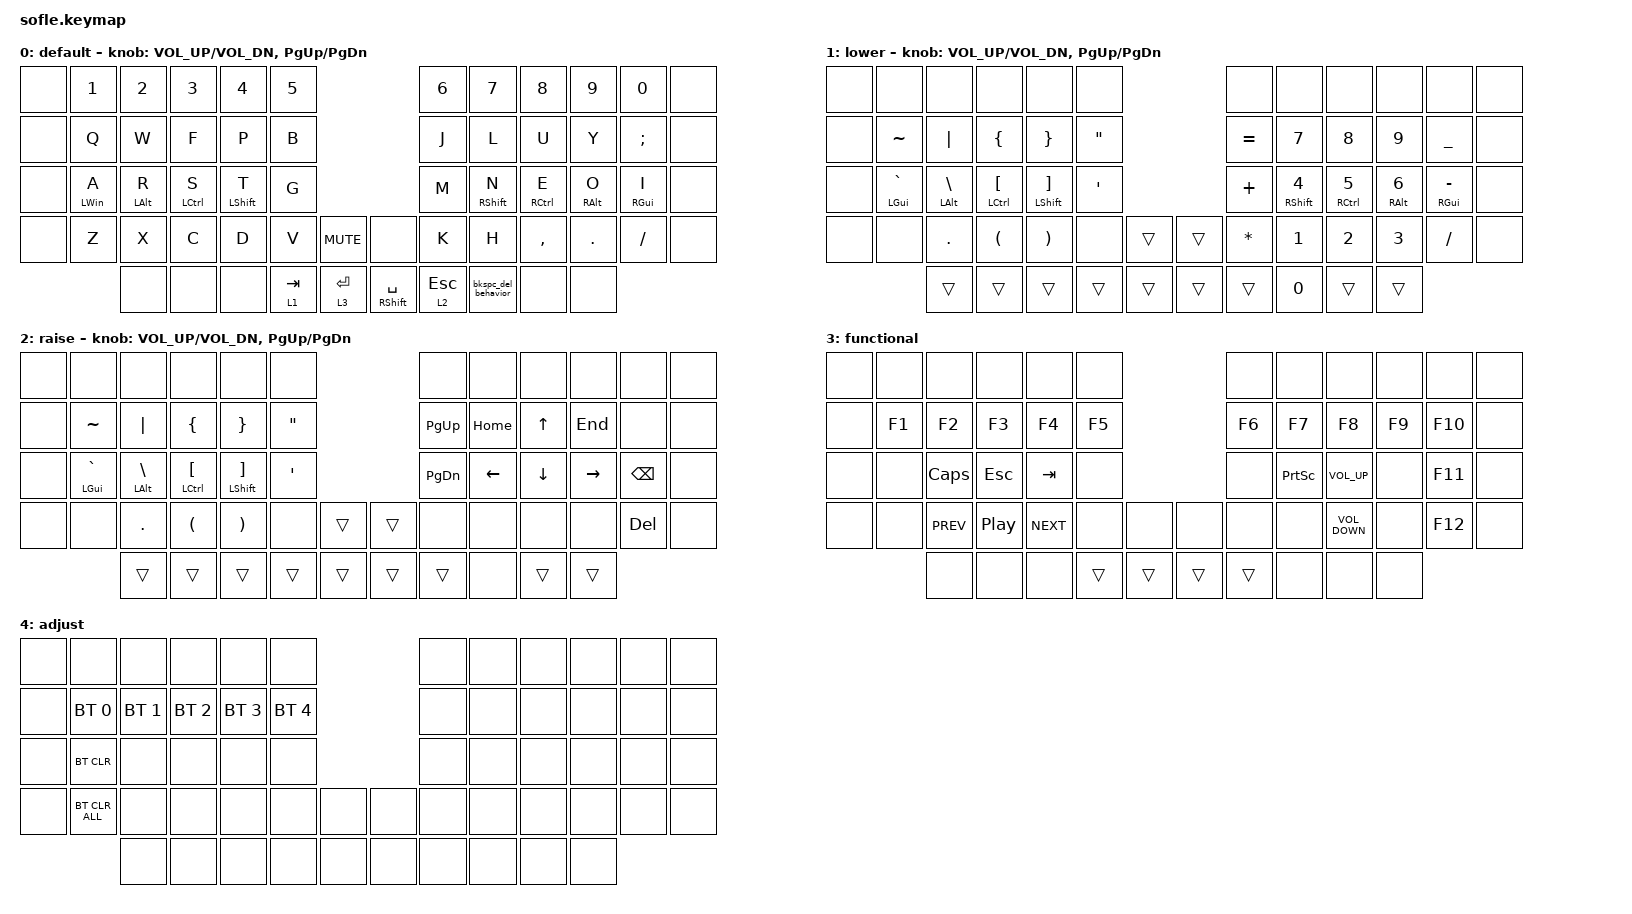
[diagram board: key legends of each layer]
/*
 * Copyright (c) 2020 The ZMK Contributors
 *
 * SPDX-License-Identifier: MIT
 */

#include <behaviors.dtsi>
#include <dt-bindings/zmk/bt.h>
#include <dt-bindings/zmk/keys.h>

#define BASE 0
#define LOWER 1
#define RAISE 2
#define ADJUST 3

/ {
    // Activate ADJUST layer by pressing raise and lower

    conditional_layers {
        compatible = "zmk,conditional-layers";

        adjust_layer {
            if-layers = <1 2>;
            then-layer = <4>;
        };
    };

    behaviors {
        left_hrm: left_hrm {
            compatible = "zmk,behavior-hold-tap";
            label = "LEFT_HRM";
            bindings = <&kp>, <&kp>;

            #binding-cells = <2>;
            tapping-term-ms = <250>;
            flavor = "balanced";
            require-prior-idle-ms = <200>;
            hold-trigger-on-release;
            hold-trigger-key-positions = <6 7 8 9 21 10 11 23 22 34 35 49 48 33 47 59 58 46 32 19 20 30 18 31 45 44 43 55 56 57>;
        };

        right_hrm: right_hrm {
            compatible = "zmk,behavior-hold-tap";
            label = "RIGHT_HRM";
            bindings = <&kp>, <&kp>;

            #binding-cells = <2>;
            tapping-term-ms = <250>;
            flavor = "balanced";
            require-prior-idle-ms = <200>;
            hold-trigger-on-release;
            hold-trigger-key-positions = <0 1 2 3 4 5 12 13 14 15 16 17 24 25 26 27 28 29 36 37 38 39 40 41 42 50 51 52 53 54>;
        };

        bkspc_del_behavior: bkspc_del_behavior {
            compatible = "zmk,behavior-mod-morph";
            label = "BKSPC_DEL_BEHAVIOR";
            bindings = <&kp BACKSPACE>, <&kp DELETE>;

            #binding-cells = <0>;
            mods = <(MOD_LSFT|MOD_RSFT)>;
        };
    };

    keymap {
        compatible = "zmk,keymap";

        default_layer {
            label = "default";

            // ------------------------------------------------------------------------------------------------------------
            // |   `   |  1  |  2  |  3   |  4   |  5   |                   |  6   |  7    |  8    |  9   |   0   |       |
            // |  ESC  |  Q  |  W  |  E   |  R   |  T   |                   |  Y   |  U    |  I    |  O   |   P   | BKSPC |
            // |  TAB  |  A  |  S  |  D   |  F   |  G   |                   |  H   |  J    |  K    |  L   |   ;   |   '   |
            // | SHIFT |  Z  |  X  |  C   |  V   |  B   |  MUTE  |  |       |  N   |  M    |  ,    |  .   |   /   | SHIFT |
            //               | GUI | ALT  | CTRL | LOWER|  ENTER |  | SPACE | RAISE| CTRL  | ALT   | GUI  |

            bindings = <
&none  &kp N1                &kp N2                &kp N3             &kp N4                  &kp N5                                                  &kp N6        &kp N7                    &kp N8              &kp N9                  &kp N0                  &none
&none  &kp Q                 &kp W                 &kp F              &kp P                   &kp B                                                   &kp J         &kp L                     &kp U               &kp Y                   &kp SEMI                &none
&none  &left_hrm LEFT_WIN A  &left_hrm LEFT_ALT R  &left_hrm LCTRL S  &left_hrm LEFT_SHIFT T  &kp G                                                   &kp M         &right_hrm RIGHT_SHIFT N  &right_hrm RCTRL E  &right_hrm RIGHT_ALT O  &right_hrm RIGHT_GUI I  &none
&none  &kp Z                 &kp X                 &kp C              &kp D                   &kp V      &kp C_MUTE     &none                         &kp K         &kp H                     &kp COMMA           &kp PERIOD              &kp SLASH               &none
                             &none                 &none              &none                   &lt 1 TAB  &lt 3 ENTER    &right_hrm RIGHT_SHIFT SPACE  &lt 2 ESCAPE  &bkspc_del_behavior       &none               &none
            >;

            sensor-bindings = <&inc_dec_kp C_VOL_UP C_VOL_DN &inc_dec_kp PG_UP PG_DN>;
        };

        lower_layer {
            label = "lower";

            // TODO: Some binds are waiting for shifted keycode support.
            // ------------------------------------------------------------------------------------------------------------
            // |       |  F1 |  F2 |  F3  |  F4  |  F5  |                   |  F6  |  F7   |  F8   |  F9  |  F10  |  F11  |
            // |   `   |  1  |  2  |  3   |  4   |  5   |                   |  6   |  7    |  8    |  9   |   0   |  F12  |
            // |       |  !  |  @  |  #   |  $   |  %   |                   |  ^   |  &    |  *    |  (   |   )   |   |   |
            // |       |  =  |  -  |  +   |  {   |  }   |        |  |       |  [   |  ]    |  ;    |  :   |   \   |       |
            //               |     |      |      |      |        |  |       |      |       |       |      |

            bindings = <
&none  &none                     &none                         &none                         &none                               &none                      &none         &none                            &none                      &none                          &none                       &none
&none  &kp TILDE                 &kp PIPE                      &kp LEFT_BRACE                &kp RIGHT_BRACE                     &kp DQT                    &kp EQUAL     &kp N7                           &kp N8                     &kp N9                         &kp UNDERSCORE              &none
&none  &left_hrm LEFT_GUI GRAVE  &left_hrm LEFT_ALT BACKSLASH  &left_hrm LCTRL LEFT_BRACKET  &left_hrm LEFT_SHIFT RIGHT_BRACKET  &kp SQT                    &kp PLUS      &right_hrm RIGHT_SHIFT NUMBER_4  &right_hrm RCTRL NUMBER_5  &right_hrm RIGHT_ALT NUMBER_6  &right_hrm RIGHT_GUI MINUS  &none
&none  &none                     &kp PERIOD                    &kp LEFT_PARENTHESIS          &kp RIGHT_PARENTHESIS               &none    &trans    &trans  &kp ASTERISK  &kp NUMBER_1                     &kp NUMBER_2               &kp NUMBER_3                   &kp SLASH                   &none
                                 &trans                        &trans                        &trans                              &trans   &trans    &trans  &trans        &kp NUMBER_0                     &trans                     &trans
            >;

            sensor-bindings = <&inc_dec_kp C_VOL_UP C_VOL_DN &inc_dec_kp PG_UP PG_DN>;
        };

        raise_layer {
            label = "raise";
            bindings = <
&none  &none                     &none                         &none                         &none                               &none                      &none      &none     &none     &none      &none     &none
&none  &kp TILDE                 &kp PIPE                      &kp LEFT_BRACE                &kp RIGHT_BRACE                     &kp DQT                    &kp PG_UP  &kp HOME  &kp UP    &kp END    &none     &none
&none  &left_hrm LEFT_GUI GRAVE  &left_hrm LEFT_ALT BACKSLASH  &left_hrm LCTRL LEFT_BRACKET  &left_hrm LEFT_SHIFT RIGHT_BRACKET  &kp SQT                    &kp PG_DN  &kp LEFT  &kp DOWN  &kp RIGHT  &kp BSPC  &none
&none  &none                     &kp PERIOD                    &kp LEFT_PARENTHESIS          &kp RIGHT_PARENTHESIS               &none    &trans    &trans  &none      &none     &none     &none      &kp DEL   &none
                                 &trans                        &trans                        &trans                              &trans   &trans    &trans  &trans     &none     &trans    &trans
            >;

            sensor-bindings =
                <&inc_dec_kp C_VOL_UP C_VOL_DN>,
                <&inc_dec_kp PG_UP PG_DN>;
        };

        functional {
            bindings = <
&none  &none   &none         &none     &none       &none                     &none   &none            &none              &none   &none    &none
&none  &kp F1  &kp F2        &kp F3    &kp F4      &kp F5                    &kp F6  &kp F7           &kp F8             &kp F9  &kp F10  &none
&none  &none   &kp CAPSLOCK  &kp ESC   &kp TAB     &none                     &none   &kp PRINTSCREEN  &kp C_VOL_UP       &none   &kp F11  &none
&none  &none   &kp C_PREV    &kp C_PP  &kp C_NEXT  &none   &none     &none   &none   &none            &kp C_VOLUME_DOWN  &none   &kp F12  &none
               &none         &none     &none       &trans  &trans    &trans  &trans  &none            &none              &none
            >;
        };

        adjust_layer {
            // ----------------------------------------------------------------------------------------------------------------------------
            // | BTCLR  |  BT1    |  BT2    |   BT3   |   BT4   |   BT5   |                  |      |      |       |      |       |       |
            // | EXTPWR | RGB_HUD | RGB_HUI | RGB_SAD | RGB_SAI | RGB_EFF |                  |      |      |       |      |       |       |
            // |        | RGB_BRD | RGB_BRI |         |         |         |                  |      |      |       |      |       |       |
            // |        |         |         |         |         |         | RGB_TOG | |      |      |      |       |      |       |       |
            //                    |         |         |         |         |         | |      |      |      |       |      |

            label = "adjust";
            bindings = <
&none  &none           &none         &none         &none         &none                         &none  &none  &none  &none  &none  &none
&none  &bt BT_SEL 0    &bt BT_SEL 1  &bt BT_SEL 2  &bt BT_SEL 3  &bt BT_SEL 4                  &none  &none  &none  &none  &none  &none
&none  &bt BT_CLR      &none         &none         &none         &none                         &none  &none  &none  &none  &none  &none
&none  &bt BT_CLR_ALL  &none         &none         &none         &none         &none    &none  &none  &none  &none  &none  &none  &none
                       &none         &none         &none         &none         &none    &none  &none  &none  &none  &none
            >;
        };
    };
};
